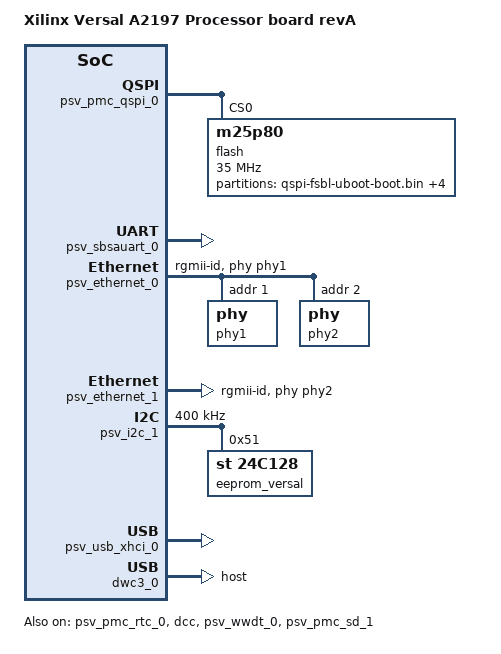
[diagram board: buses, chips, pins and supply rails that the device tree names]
// SPDX-License-Identifier: GPL-2.0
/*
 * dts file for Xilinx Versal
 *
 * (C) Copyright 2019, Xilinx, Inc.
 *
 * Michal Simek <michal.simek@xilinx.com>
 */

/ {
        compatible = "xlnx,versal-vc-p-a2197-00-revA",
                     "xlnx,versal-vc-p-a2197-00",
                     "xlnx,versal-vc-p-a2197", "xlnx,versal";
        model = "Xilinx Versal A2197 Processor board revA";

        chosen {
		bootargs = "console=ttyAMA0 earlycon=pl011,mmio32,0xFF000000,115200n8 clk_ignore_unused";
                stdout-path = "serial0:115200";
        };

	aliases {
		serial0 = &psv_sbsauart_0;
		ethernet0 = &psv_ethernet_0;
		ethernet1 = &psv_ethernet_1;
		i2c0 = &psv_i2c_1;
		mmc0 = &psv_pmc_sd_1;
		spi0 = &psv_pmc_qspi_0;
		usb0 = &psv_usb_xhci_0;
		rtc0 = &psv_pmc_rtc_0;
	};

};

&psv_pmc_rtc_0 {
	status = "okay";
};

&psv_gpio_0 {
	status = "okay";
};

&psv_gpio_1 {
	status = "okay";
};

&dcc {
        status = "okay";
};

&psv_wwdt_0 {
	status = "okay";
};

&psv_pmc_qspi_0 {
        status = "okay"; /* u93 and u92 */
	num-cs = <0x1>;
	is-dual = <0x1>;
	spi-rx-bus-width = <4>;
	spi-tx-bus-width = <4>;

	flash@0 {
		compatible = "m25p80", "spi-flash";
		#address-cells = <1>;
		#size-cells = <1>;
		reg = <0x0>;
		spi-tx-bus-width = <1>;
		spi-rx-bus-width = <4>;
		spi-max-frequency = <35000000>;
		partition@0 {
			label = "qspi-fsbl-uboot-boot.bin";
			reg = <0x0 0x6400000>;
		};
		partition@6400000 {
			label = "qspi-linux";
			reg = <0x6400000 0x500000>;
		};
		partition@6900000 {
			label = "qspi-device-tree";
			reg = <0x6900000 0x20000>;
		};
		partition@6920000 {
			label = "qspi-rootfs";
			reg = <0x6920000 0x5E0000>;
		};
		partition@7f40000 {
                       label = "qspi-bootenv";
                       reg = <0x7f40000 0x40000>;
                };
	};
};

&psv_pmc_sd_1 { /* U104 */
	status = "okay";
	xlnx,mio_bank = <1>;
};

&psv_sbsauart_0 {
        status = "okay";
};

&psv_ethernet_0 {
	status = "okay";
	phy-handle = <&phy1>; /* u128 */
	phy-mode = "rgmii-id";
	phy1: phy@1 {
		reg = <1>;
		ti,rx-internal-delay = <0xb>;
		ti,tx-internal-delay = <0xa>;
		ti,fifo-depth = <1>;
		ti,dp83867-rxctrl-strap-quirk; /* FIXME - Remove if board is fixed */
	};
	phy2: phy@2 {
		reg = <2>;
		ti,rx-internal-delay = <0xb>;
		ti,tx-internal-delay = <0xa>;
		ti,fifo-depth = <1>;
		ti,dp83867-rxctrl-strap-quirk; /* FIXME -  Remove if board is fixed */
	};
};

&psv_ethernet_1 {
	status = "okay";
	phy-handle = <&phy2>; /* u134 */
	phy-mode = "rgmii-id";
};

&psv_i2c_1 {
	status = "okay";
	clock-frequency = <400000>;
	eeprom_versal: eeprom@51 { /* U116 */
		compatible = "st,24c128", "atmel,24c128";
		reg = <0x51>;
	};

	/* FIXME - U117 and U118 */
};

&psv_usb_xhci_0 {
	status = "okay";
	xlnx,usb-polarity = <0x0>;
	xlnx,usb-reset-mode = <0x0>;
};

&dwc3_0 { /* USB 2.0 host - U99 */
	status = "okay";
	dr_mode = "host";
	maximum-speed = "high-speed";
	snps,dis_u2_susphy_quirk;
	snps,dis_u3_susphy_quirk;
	snps,usb3_lpm_capable;
	phy-names = "usb3-phy";
};
